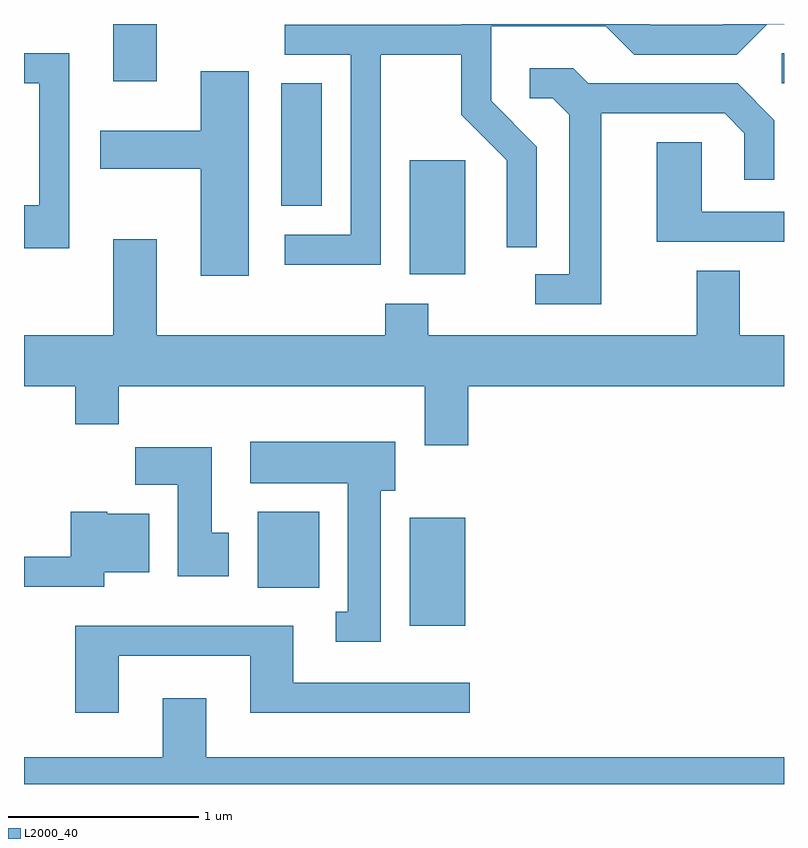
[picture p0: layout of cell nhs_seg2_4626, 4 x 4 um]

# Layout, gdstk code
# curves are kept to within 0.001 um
import gdstk
lib = gdstk.Library(unit=1e-6, precision=1e-09)
def R(c, l, rs):  # rectangles x0, y0, x1, y1
    for r in rs: c.add(gdstk.rectangle(r[:2], r[2:], *l))
def P(c, l, *ps):  # polygons
    for p in ps: c.add(gdstk.Polygon(p, *l))
L2000_40 = (2000, 40)

nhs_seg2_4626 = lib.new_cell('nhs_seg2_4626')
R(nhs_seg2_4626, L2000_40, [(323.641,1022.636,323.934,1023.204), (322.841,1022.836,323.164,1023.234), (323.641,1024.486,323.934,1025.084), (322.966,1024.846,323.179,1025.489), (325.598,1025.491,325.611,1025.649), (322.081,1025.501,322.309,1025.802)])
P(nhs_seg2_4626, L2000_40, [(323.489,1025.641),(323.911,1025.641),(323.911,1025.324),(324.151,1025.084),(324.151,1024.628),(324.309,1024.628),(324.309,1025.157),(324.069,1025.397),(324.069,1025.791),(324.674,1025.791),(324.824,1025.641),(325.362,1025.641),(325.522,1025.801),(325.611,1025.802),(325.292,1025.802),(325.289,1025.799),(324.907,1025.799),(324.904,1025.802),(323.911,1025.802),(323.911,1025.799),(322.983,1025.799),(322.983,1025.641),(323.331,1025.641),(323.331,1024.694),(322.983,1024.694),(322.983,1024.536),(323.489,1024.536)],
  [(321.849,1025.649),(321.613,1025.649),(321.613,1025.491),(321.691,1025.491),(321.691,1024.849),(321.611,1024.849),(321.611,1024.621),(321.849,1024.621)],
  [(324.649,1025.331),(325.299,1025.331),(325.401,1025.228),(325.401,1024.983),(325.559,1024.983),(325.559,1025.296),(325.367,1025.489),(324.582,1025.489),(324.502,1025.569),(324.273,1025.569),(324.273,1025.411),(324.394,1025.411),(324.481,1025.324),(324.481,1024.484),(324.303,1024.484),(324.303,1024.326),(324.649,1024.326)],
  [(322.794,1025.554),(322.541,1025.554),(322.541,1025.239),(322.011,1025.239),(322.011,1025.041),(322.541,1025.041),(322.541,1024.476),(322.794,1024.476)],
  [(325.611,1024.814),(325.179,1024.814),(325.179,1025.179),(324.941,1025.179),(324.941,1024.656),(325.611,1024.656)],
  [(322.081,1024.164),(321.611,1024.164),(321.611,1023.896),(321.881,1023.896),(321.881,1023.696),(322.109,1023.696),(322.109,1023.896),(323.721,1023.896),(323.721,1023.586),(323.949,1023.586),(323.949,1023.896),(325.611,1023.896),(325.611,1024.164),(325.379,1024.164),(325.379,1024.504),(325.151,1024.504),(325.151,1024.164),(323.739,1024.164),(323.739,1024.329),(323.511,1024.329),(323.511,1024.164),(322.309,1024.164),(322.309,1024.669),(322.081,1024.669)],
  [(323.489,1023.346),(323.564,1023.346),(323.564,1023.604),(322.801,1023.604),(322.801,1023.386),(323.316,1023.386),(323.316,1022.709),(323.253,1022.709),(323.253,1022.551),(323.489,1022.551)],
  [(322.689,1023.124),(322.599,1023.124),(322.599,1023.574),(322.196,1023.574),(322.196,1023.376),(322.421,1023.376),(322.421,1022.896),(322.689,1022.896)],
  [(322.034,1022.916),(322.269,1022.916),(322.269,1023.224),(322.05,1023.224),(322.05,1023.234),(321.856,1023.234),(321.856,1022.999),(321.611,1022.999),(321.611,1022.841),(322.034,1022.841)],
  [(322.109,1022.476),(322.801,1022.476),(322.801,1022.176),(323.958,1022.176),(323.958,1022.334),(323.029,1022.334),(323.029,1022.634),(321.881,1022.634),(321.881,1022.176),(322.109,1022.176)],
  [(325.611,1021.944),(322.569,1021.944),(322.569,1022.254),(322.341,1022.254),(322.341,1021.944),(321.611,1021.944),(321.611,1021.802),(325.611,1021.802)])

lib.write_gds('nhs_seg2_4626.gds')
